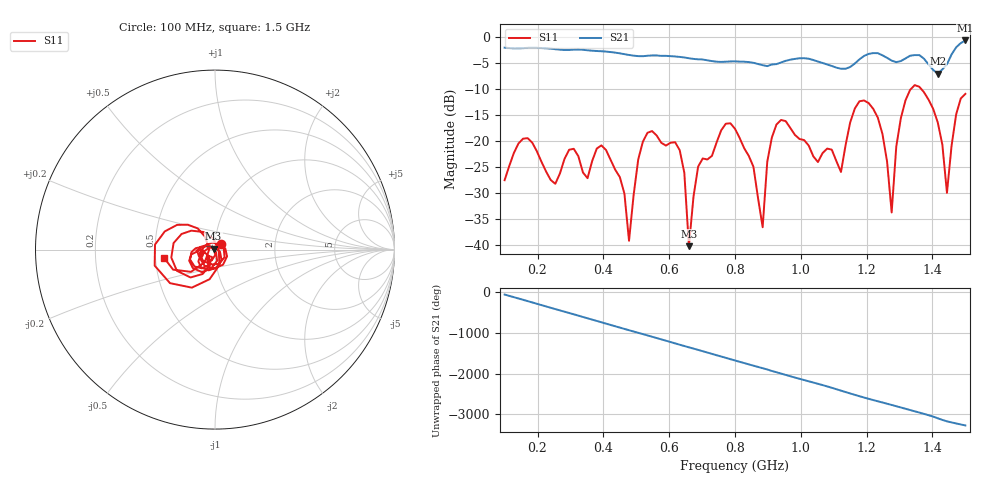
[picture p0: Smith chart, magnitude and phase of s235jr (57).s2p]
! NanoVNA-App
! Date: 2025-09-25 15:04:36
! Start: 100MHz Stop: 1,5GHz Points: 101
! S-Parameter data: F S11 S21 S12 S22
# Hz S RI R 50
!  Frequency  S11_Real  S11_Imag  S21_Real  S21_Imag  S12_Real  S12_Imag  S22_Real  S22_Imag
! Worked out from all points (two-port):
!   101 points, 100 MHz to 1.5 GHz, reference 50 ohm
!   highest |S21| = -0.58 dB at 1.5 GHz (marker M1); lowest = -7.0 dB at 1.416 GHz (marker M2)
!   |S21| within 3 dB of the highest: start of sweep to 503.4 MHz; 524.8 MHz to 599 MHz (74.19 MHz wide, 13.2 % of centre) (the widest 2 of 5)
!   lowest |S11| = -40.2 dB at 660 MHz (marker M3), VSWR 1.02, Z = 49.2 + j0.567 ohm
!   |S11| at or under -10 dB: start of sweep to 1.333 GHz; 1.367 GHz to end of sweep
!   S12 and S22 are empty: the file has one direction only
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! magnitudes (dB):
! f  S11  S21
! 100 MHz  -27.5  -2.0
! 170 MHz  -19.4  -2.0
! 338 MHz  -26.0  -2.4
! 408 MHz  -21.7  -2.7
! 478 MHz  -39.1  -3.4
! 520 MHz  -20.1  -3.6
! 576 MHz  -20.3  -3.5
! 632 MHz  -21.7  -3.7
! 660 MHz  -40.2  -4.0
! 688 MHz  -24.9  -4.2
! 800 MHz  -17.6  -4.6
! 884 MHz  -36.5  -5.3
! 926 MHz  -16.8  -5.1
! 1.038 GHz  -22.9  -4.3
! 1.122 GHz  -25.9  -6.0
! 1.206 GHz  -12.6  -3.2
! 1.276 GHz  -33.7  -4.5
! 1.29 GHz  -21.0  -4.8
! 1.332 GHz  -10.1  -3.5
! 1.416 GHz  -16.3  -7.0
! 1.444 GHz  -29.9  -5.1
! 1.5 GHz  -10.9  -0.6
